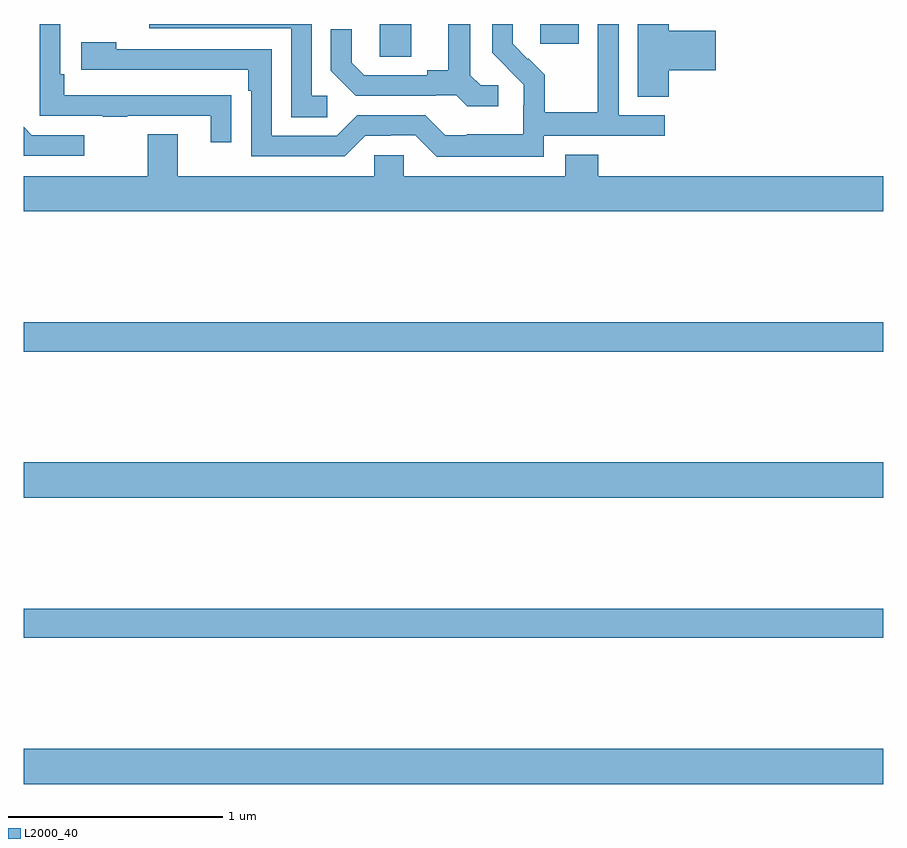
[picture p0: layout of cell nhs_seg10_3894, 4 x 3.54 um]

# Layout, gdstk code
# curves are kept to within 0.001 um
import gdstk
lib = gdstk.Library(unit=1e-6, precision=1e-09)
def R(c, l, rs):  # rectangles x0, y0, x1, y1
    for r in rs: c.add(gdstk.rectangle(r[:2], r[2:], *l))
def P(c, l, *ps):  # polygons
    for p in ps: c.add(gdstk.Polygon(p, *l))
L2000_40 = (2000, 40)

nhs_seg10_3894 = lib.new_cell('nhs_seg10_3894')
R(nhs_seg10_3894, L2000_40, [(325,1318.964,329,1319.128), (325,1319.644,329,1319.78), (325,1320.296,329,1320.46), (325,1320.976,329,1321.112), (326.658,1322.347,326.803,1322.5), (327.404,1322.409,327.583,1322.5)])
P(nhs_seg10_3894, L2000_40, [(328.001,1322.285),(328.219,1322.285),(328.219,1322.468),(328.001,1322.468),(328.001,1322.5),(327.857,1322.5),(327.857,1322.161),(328.001,1322.161)],
  [(326.413,1322.166),(326.34,1322.166),(326.34,1322.5),(325.585,1322.5),(325.585,1322.481),(326.244,1322.481),(326.244,1322.065),(326.413,1322.065)],
  [(325.967,1322.168),(325.865,1322.168),(325.865,1322.169),(325.19,1322.169),(325.19,1322.266),(325.17,1322.266),(325.17,1322.5),(325.074,1322.5),(325.074,1322.073),(325.369,1322.073),(325.369,1322.068),(325.481,1322.068),(325.481,1322.073),(325.871,1322.073),(325.871,1321.95),(325.967,1321.95)],
  [(327.42,1321.98),(327.982,1321.98),(327.982,1322.076),(327.768,1322.076),(327.768,1322.5),(327.672,1322.5),(327.672,1322.312),(327.67,1322.312),(327.67,1322.089),(327.425,1322.089),(327.425,1322.263),(327.348,1322.34),(327.345,1322.337),(327.275,1322.408),(327.275,1322.5),(327.18,1322.5),(327.18,1322.366),(327.326,1322.218),(327.326,1322.121),(327.324,1322.121),(327.324,1321.987),(327.061,1321.987),(327.061,1321.983),(326.961,1321.983),(326.868,1322.076),(326.553,1322.076),(326.457,1321.98),(326.154,1321.98),(326.154,1322.382),(325.43,1322.382),(325.43,1322.416),(325.269,1322.416),(325.269,1322.286),(326.045,1322.286),(326.045,1322.189),(326.058,1322.189),(326.058,1321.884),(326.493,1321.884),(326.589,1321.98),(326.708,1321.98),(326.708,1321.983),(326.823,1321.983),(326.923,1321.883),(327.42,1321.883)],
  [(327.208,1322.214),(327.126,1322.214),(327.079,1322.261),(327.079,1322.5),(326.975,1322.5),(326.975,1322.285),(326.879,1322.285),(326.879,1322.262),(326.584,1322.262),(326.527,1322.319),(326.527,1322.476),(326.43,1322.476),(326.43,1322.282),(326.546,1322.166),(326.918,1322.166),(326.918,1322.169),(327.012,1322.169),(327.064,1322.117),(327.208,1322.117)],
  [(325.282,1321.983),(325.038,1321.983),(325,1322.021),(325,1321.887),(325.282,1321.887)],
  [(329,1321.792),(327.674,1321.792),(327.674,1321.891),(327.521,1321.891),(327.521,1321.792),(326.769,1321.792),(326.769,1321.89),(326.631,1321.89),(326.631,1321.792),(325.717,1321.792),(325.717,1321.987),(325.577,1321.987),(325.577,1321.792),(325,1321.792),(325,1321.628),(329,1321.628)])

lib.write_gds('nhs_seg10_3894.gds')
